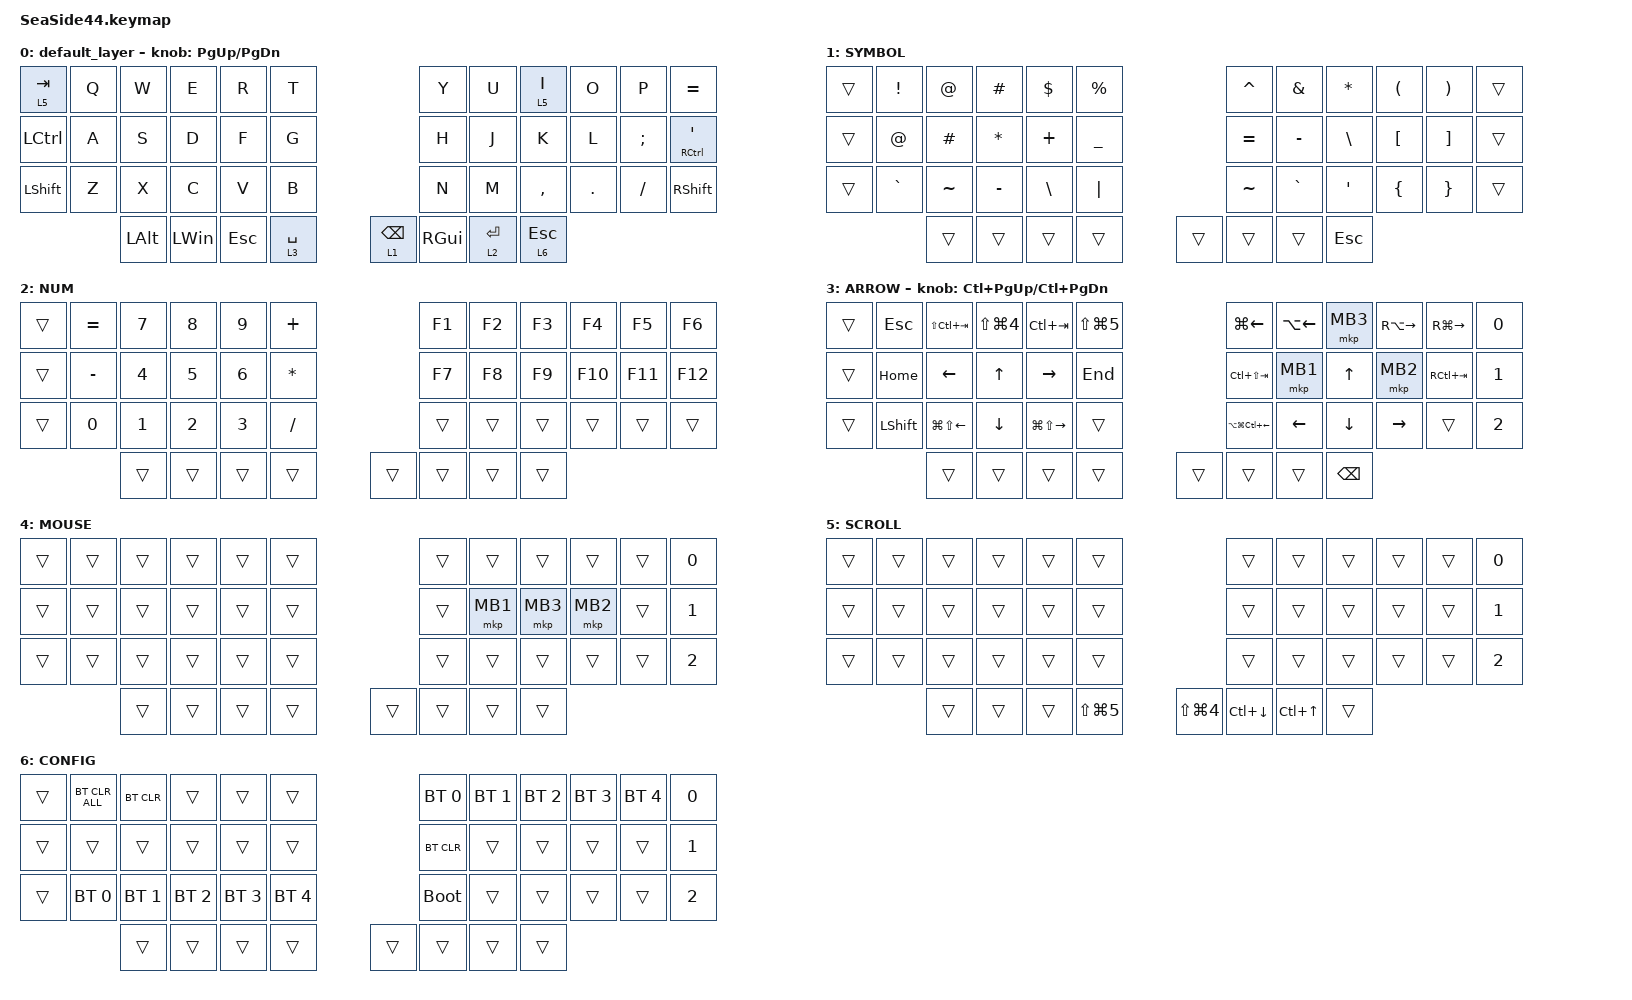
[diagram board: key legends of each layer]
#include <behaviors.dtsi>
#include <dt-bindings/zmk/bt.h>
#include <dt-bindings/zmk/keys.h>
#include <dt-bindings/zmk/pointing.h>

#define MOUSE 4
#define SCROLL 5
#define NUM 6

&mt {
    flavor = "balanced";
    quick-tap-ms = <300>;
};

&lt {
    flavor = "balanced";
    quick-tap-ms = <300>;
};

/ {
    combos {
        compatible = "zmk,combos";

        tab {
            bindings = <&kp TAB>;
            key-positions = <14 15>;
        };

        shifttab {
            bindings = <&kp LS(TAB)>;
            key-positions = <15 16>;
        };

        LANG-EN {
            bindings = <&kp LANG1>;
            key-positions = <19 20>;
        };

        LANG-JA {
            bindings = <&kp LANG2>;
            key-positions = <7 8>;
        };
    };

    macros {
        to_layer_0: to_layer_0 {
            compatible = "zmk,behavior-macro-one-param";
            #binding-cells = <1>;
            bindings = <&to 0 &macro_param_1to1 &kp MACRO_PLACEHOLDER>;
            label = "TO_LAYER_0";
        };
    };

    behaviors {
        lt_to_layer_0: lt_to_layer_0 {
            compatible = "zmk,behavior-hold-tap";
            label = "LAYER_TAP_TO_0";
            bindings = <&mo>, <&to_layer_0>;

            #binding-cells = <2>;
            tapping-term-ms = <200>;
        };
    };

    keymap {
        compatible = "zmk,keymap";

        default_layer {
            bindings = <
&lt 5 TAB  &kp Q  &kp W         &kp E         &kp R    &kp T                                          &kp Y        &kp U  &lt 5 I       &kp O    &kp P          &kp EQUAL
&kp LCTRL  &kp A  &kp S         &kp D         &kp F    &kp G                                          &kp H        &kp J  &kp K         &kp L    &kp SEMICOLON  &mt RCTRL SINGLE_QUOTE
&kp LSHFT  &kp Z  &kp X         &kp C         &kp V    &kp B                                          &kp N        &kp M  &kp COMMA     &kp DOT  &kp SLASH      &kp RIGHT_SHIFT
                  &kp LEFT_ALT  &kp LEFT_WIN  &kp ESC  &lt 3 SPACE  &lt 1 BACKSPACE    &kp RIGHT_GUI  &lt 2 ENTER         &lt 6 ESCAPE
            >;

            sensor-bindings = <&inc_dec_kp PG_UP PAGE_DOWN>;
        };

        SYMBOL {
            bindings = <
&trans  &kp EXCLAMATION  &kp AT_SIGN  &kp HASH      &kp DOLLAR  &kp PERCENT                    &kp CARET  &kp AMPERSAND  &kp ASTERISK   &kp LEFT_PARENTHESIS  &kp RIGHT_PARENTHESIS  &trans
&trans  &kp AT           &kp HASH     &kp ASTERISK  &kp PLUS    &kp UNDER                      &kp EQUAL  &kp MINUS      &kp BACKSLASH  &kp LEFT_BRACKET      &kp RIGHT_BRACKET      &trans
&trans  &kp GRAVE        &kp TILDE    &kp MINUS     &kp BSLH    &kp PIPE                       &kp TILDE  &kp GRAVE      &kp SQT        &kp LEFT_BRACE        &kp RIGHT_BRACE        &trans
                         &trans       &trans        &trans      &trans       &trans    &trans  &trans                    &kp ESC
            >;
        };

        NUM {
            bindings = <
&trans  &kp EQUAL  &kp N7        &kp N8  &kp N9        &kp PLUS                        &kp F1  &kp F2  &kp F3  &kp F4   &kp F5   &kp F6
&trans  &kp MINUS  &kp NUMBER_4  &kp N5  &kp NUMBER_6  &kp ASTERISK                    &kp F7  &kp F8  &kp F9  &kp F10  &kp F11  &kp F12
&trans  &kp N0     &kp NUMBER_1  &kp N2  &kp N3        &kp SLASH                       &trans  &trans  &trans  &trans   &trans   &trans
                   &trans        &trans  &trans        &trans        &trans    &trans  &trans          &trans
            >;
        };

        ARROW {
            bindings = <
&trans  &kp ESCAPE      &kp LS(LC(TAB))         &kp LS(LG(NUMBER_4))  &kp LC(TAB)              &kp LS(LG(N5))                    &kp LG(LEFT_ARROW)          &kp LA(LEFT_ARROW)  &mkp MB3        &kp RA(RIGHT_ARROW)  &kp RG(RIGHT_ARROW)  &kp N0
&trans  &kp HOME        &kp LEFT_ARROW          &kp UP_ARROW          &kp RIGHT_ARROW          &kp END                           &kp LC(LS(TAB))             &mkp MB1            &kp UP_ARROW    &mkp MB2             &kp RC(TAB)          &kp N1
&trans  &kp LEFT_SHIFT  &kp LG(LS(LEFT_ARROW))  &kp DOWN_ARROW        &kp LG(LS(RIGHT_ARROW))  &trans                            &kp LA(LG(LC(LEFT_ARROW)))  &kp LEFT_ARROW      &kp DOWN_ARROW  &kp RIGHT_ARROW      &trans               &kp N2
                        &trans                  &trans                &trans                   &trans          &trans    &trans  &trans                                          &kp BACKSPACE
            >;

            sensor-bindings = <&inc_dec_kp LC(PAGE_UP) LC(PAGE_DOWN)>;
        };

        MOUSE {
            bindings = <
&trans  &trans  &trans  &trans  &trans  &trans                    &trans  &trans    &trans    &trans    &trans  &kp N0
&trans  &trans  &trans  &trans  &trans  &trans                    &trans  &mkp MB1  &mkp MB3  &mkp MB2  &trans  &kp N1
&trans  &trans  &trans  &trans  &trans  &trans                    &trans  &trans    &trans    &trans    &trans  &kp N2
                &trans  &trans  &trans  &trans  &trans    &trans  &trans            &trans
            >;
        };

        SCROLL {
            bindings = <
&trans  &trans  &trans  &trans  &trans  &trans                                          &trans            &trans  &trans  &trans  &trans  &kp N0
&trans  &trans  &trans  &trans  &trans  &trans                                          &trans            &trans  &trans  &trans  &trans  &kp N1
&trans  &trans  &trans  &trans  &trans  &trans                                          &trans            &trans  &trans  &trans  &trans  &kp N2
                &trans  &trans  &trans  &kp LS(LG(N5))  &kp LS(LG(N4))    &kp LC(DOWN)  &kp LC(UP_ARROW)          &trans
            >;
        };

        CONFIG {
            bindings = <
&trans  &bt BT_CLR_ALL  &bt BT_CLR    &trans        &trans        &trans                          &bt BT_SEL 0  &bt BT_SEL 1  &bt BT_SEL 2  &bt BT_SEL 3  &bt BT_SEL 4  &kp N0
&trans  &trans          &trans        &trans        &trans        &trans                          &bt BT_CLR    &trans        &trans        &trans        &trans        &kp N1
&trans  &bt BT_SEL 0    &bt BT_SEL 1  &bt BT_SEL 2  &bt BT_SEL 3  &bt BT_SEL 4                    &bootloader   &trans        &trans        &trans        &trans        &kp N2
                        &trans        &trans        &trans        &trans        &trans    &trans  &trans                      &trans
            >;
        };
    };
};
